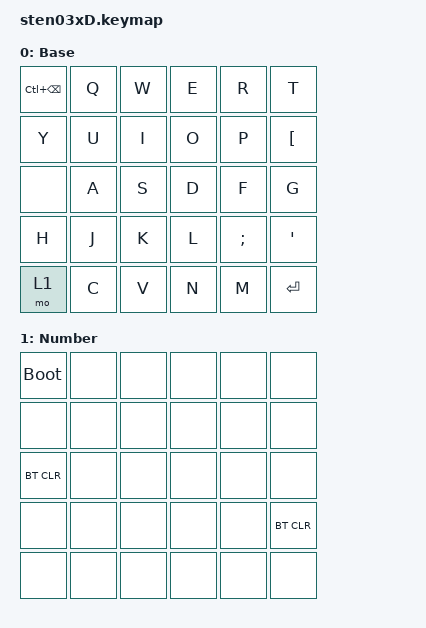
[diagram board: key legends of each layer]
#include <behaviors.dtsi>
#include <dt-bindings/zmk/keys.h>
#include <dt-bindings/zmk/bt.h>

/ {
    keymap {
        compatible = "zmk,keymap";

        default_layer {
            display-name = "Base";
            bindings = <
                &kp LC(BACKSPACE)   &kp Q    &kp W    &kp E    &kp R    &kp T    
                &kp Y    &kp U    &kp I    &kp O    &kp P    &kp LBKT 
                &none   &kp A    &kp S    &kp D    &kp F    &kp G    
                &kp H    &kp J    &kp K    &kp L    &kp SEMI    &kp SQT
                
                &mo 1    &kp C    &kp V    &kp N    &kp M    &kp ENTER
            >;
        };
        
        layer_1 {
            display-name = "Number";
            bindings = <
                &bootloader              &none  &none  &none  &none  &none     
                &none  &none  &none  &none  &none      &none
                &bt BT_CLR    &none      &none      &none     &none      &none      
                &none     &none      &none    &none     &none      &bt BT_CLR    
                
                &none     &none      &none      &none     &none      &none 
            >;
        };
        
        
    };
 };
